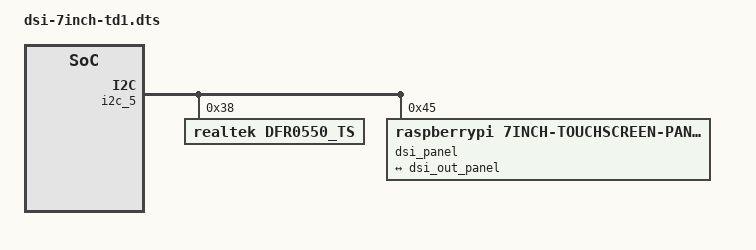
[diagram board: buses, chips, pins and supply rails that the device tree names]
// SPDX-License-Identifier: (GPL-2.0-or-later OR BSD-2-Clause)
/*
 * Raspberry Pi Touch Display 1 (7" 800x480)
 * Overlay for the panel-neutral base (rtd1619b-backinblack-2gb.dts):
 *   - add the dsi_out_panel endpoint pointing at the panel
 *   - panel + attiny regulator via i2c_5 @0x45 (raspberrypi,7inch-touchscreen-panel)
 *   - FT5406-class touch via i2c_5 @0x38 (realtek,dfr0550_ts)
 */
/dts-v1/;
/plugin/;

&dsi_out {
	dsi_out_panel: endpoint {
		remote-endpoint = <&panel_in_dsi>;
	};
};

&i2c_5 {
	dfr0550_ts@38 {
		compatible = "realtek,dfr0550_ts";
		reg = <0x38>;
		rotate = <0>;
	};

	dsi_panel: dsi_panel@45 {
		compatible = "raspberrypi,7inch-touchscreen-panel";
		reg = <0x45>;
		rotation = <0>;
		port {
			panel_in_dsi: endpoint {
				remote-endpoint = <&dsi_out_panel>;
			};
		};
	};
};
